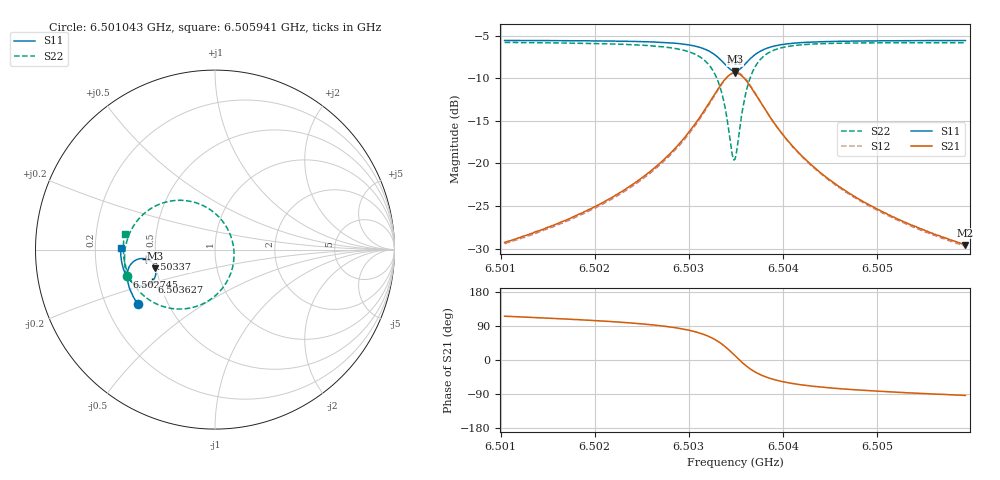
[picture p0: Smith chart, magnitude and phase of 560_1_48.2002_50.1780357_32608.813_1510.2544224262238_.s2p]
#  HZ  S  RI  R  50.00
! Rohde & Schwarz Vector Network Analyzer
! Rohde-Schwarz,ZNB20-2Port,1311601062101988,3.16
! Created: UTC 3/20/2024, 12:01:08 PM
! freq[Hz]  re:S11  im:S11  re:S21  im:S21  re:S12  im:S12  re:S22  im:S22
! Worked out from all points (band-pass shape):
!   401 points, 6.501043 GHz to 6.505941 GHz, reference 50 ohm
!   highest |S21| = -9.37 dB at 6.503492 GHz (marker M1); lowest = -29.6 dB at 6.505941 GHz (marker M2)
!   |S21| within 3 dB of the highest: 6.503248 GHz to 6.503737 GHz (489.6 kHz wide, 0.00753 % of centre)
!   lowest |S11| = -9.2 dB at 6.503492 GHz (marker M3), VSWR 2.07, Z = 24.6 - j5.78 ohm
!   |S11| at or under -10 dB: nowhere
!   |S22| runs from -19.6 to -5.8 dB; largest |S21 - S12| = 0.012
!   S11 on the Smith chart (normalised r, x): 6.501043 GHz: 0.34, -0.28; 6.502745 GHz: 0.33, -0.14; 6.50337 GHz: 0.44, -0.05; 6.503627 GHz: 0.45, -0.19; 6.505941 GHz: 0.31, +0.01
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6.5010429e9  -0.4305 -0.304  -0.0148 0.031  -0.0132 0.0311  -0.4919 -0.1472
6.5018634e9  -0.4652 -0.2426  -0.014 0.0491  -0.0117 0.0487  -0.5037 -0.0586
6.5023043e9  -0.4804 -0.2029  -0.0111 0.0683  -0.00808 0.0673  -0.4999 0.00505
6.5026839e9  -0.489 -0.1603  -0.00158 0.0991  0.00206 0.0968  -0.4791 0.0827
6.5027451e9  -0.4895 -0.152  0.00166 0.1066  0.00528 0.1039  -0.472 0.0989
6.5029655e9  -0.4858 -0.1168  0.0238 0.1418  0.0275 0.1377  -0.426 0.1698
6.5031247e9  -0.4711 -0.0846  0.0633 0.178  0.066 0.1724  -0.3492 0.2335
6.5032717e9  -0.4333 -0.0549  0.1451 0.2071  0.1458 0.2009  -0.2001 0.2747
6.5033697e9  -0.3865 -0.052  0.237 0.1904  0.2371 0.1862  -0.0414 0.2321
6.5034554e9  -0.3434 -0.0811  0.3156 0.1159  0.3181 0.112  0.0843 0.0852
6.5034799e9  -0.3353 -0.0954  0.329 0.0842  0.3326 0.0793  0.1016 0.0251
6.5034921e9  -0.3324 -0.1032  0.3336 0.0669  0.3374 0.0618  0.1057 -0.00663
6.5035166e9  -0.3294 -0.1196  0.3369 0.0322  0.3413 0.0258  0.1034 -0.0703
6.5035533e9  -0.3314 -0.1438  0.3299 -0.0182  0.3337 -0.0268  0.0763 -0.1596
6.5036268e9  -0.3537 -0.1812  0.2831 -0.0951  0.2833 -0.1066  -0.0341 -0.2837
6.503737e9  -0.3995 -0.2015  0.1956 -0.1407  0.1906 -0.1507  -0.2111 -0.3309
6.5038962e9  -0.4472 -0.1921  0.1113 -0.137  0.1042 -0.1423  -0.363 -0.2823
6.5040677e9  -0.4751 -0.1707  0.0655 -0.1159  0.0592 -0.1184  -0.437 -0.2155
6.5043126e9  -0.4962 -0.1409  0.0348 -0.0906  0.0299 -0.0912  -0.4814 -0.1419
6.50468e9  -0.5118 -0.1018  0.0153 -0.0667  0.012 -0.0663  -0.5042 -0.0663
6.5051331e9  -0.5212 -0.0594  0.00515 -0.0495  0.00286 -0.0488  -0.5106 -0.000329
6.5059413e9  -0.5264 0.00942  -0.00206 -0.0332  -0.00336 -0.0325  -0.5034 0.0865
